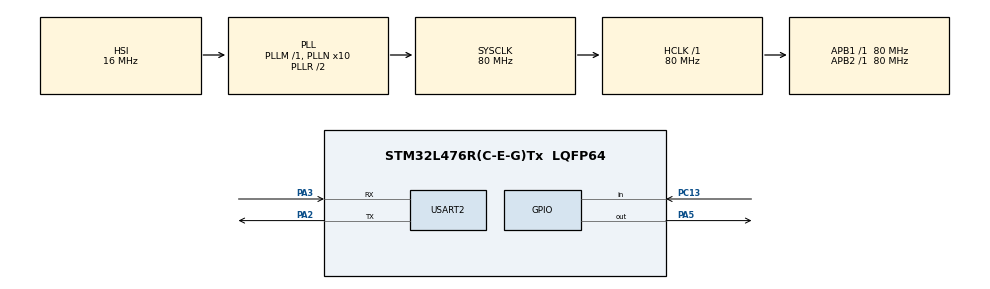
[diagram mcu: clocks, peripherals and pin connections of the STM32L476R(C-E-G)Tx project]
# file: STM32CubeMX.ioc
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Mcu.Family=STM32L4
Mcu.Name=STM32L476R(C-E-G)Tx
Mcu.Package=LQFP64
NVIC.PriorityGroup=NVIC_PRIORITYGROUP_4
NVIC.USART2_IRQn=true\:0\:0\:false\:false\:true\:true\:true\:true
PA2.Mode=Asynchronous
PA2.Signal=USART2_TX
PA3.Mode=Asynchronous
PA3.Signal=USART2_RX
PA5.Signal=GPIO_Output
PC13.Signal=GPIO_Input
ProjectManager.HeapSize=0x200
ProjectManager.StackSize=0x400
ProjectManager.TargetToolchain=MDK-ARM V5
RCC.ADCFreq_Value=64000000
RCC.AHBFreq_Value=80000000
RCC.APB1Freq_Value=80000000
RCC.APB1TimFreq_Value=80000000
RCC.APB2Freq_Value=80000000
RCC.APB2TimFreq_Value=80000000
RCC.CortexFreq_Value=80000000
RCC.HCLKFreq_Value=80000000
RCC.HSE_VALUE=8000000
RCC.HSI_VALUE=16000000
RCC.LSE_VALUE=32768
RCC.MSI_VALUE=4000000
RCC.PLLN=10
RCC.PLLSourceVirtual=RCC_PLLSOURCE_HSI
RCC.SYSCLKFreq_VALUE=80000000
RCC.SYSCLKSource=RCC_SYSCLKSOURCE_PLLCLK
RCC.USBFreq_Value=64000000
RCC.VCOOutputFreq_Value=160000000
USART2.VirtualMode-Asynchronous=VM_ASYNC
board=custom

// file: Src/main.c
/* USER CODE BEGIN Header */
/**
  ******************************************************************************
  * @file           : main.c
  * @brief          : Main program body
  ******************************************************************************
  * @attention
  *
  * Copyright (c) 2025 STMicroelectronics.
  * All rights reserved.
  *
  * This software is licensed under terms that can be found in the LICENSE file
  * in the root directory of this software component.
  * If no LICENSE file comes with this software, it is provided AS-IS.
  *
  ******************************************************************************
  */
/* USER CODE END Header */
#include "main.h"

/* USER CODE BEGIN Includes */
#include <stdio.h>
#include <string.h>
#include "preserved.h"

/* USER CODE END Includes */

UART_HandleTypeDef huart2;

/* USER CODE BEGIN PV */
__attribute__( ( section( ".version" ), used ) ) const uint32_t Version = VERSION ;

/* USER CODE END PV */

void SystemClock_Config(void);
static void MX_GPIO_Init(void);
static void MX_USART2_UART_Init(void);
/* USER CODE BEGIN PFP */
void SwitchEntry( void ) ;
int stdio_init (void) ;
int stdio_uninit (void) ;
/* USER CODE END PFP */

/* USER CODE BEGIN 0 */
__attribute__( ( section( ".handler_code" ) ) ) void HAL_IncTick( void )
{
  Milliseconds++ ;
  if( 1000 <= Milliseconds )
  {
    Milliseconds = 0 ;
    Seconds++ ;
    Tick = 1 ;
    if( 60 <= Seconds )
    {
      Seconds = 0 ;
    }
  }
}

extern char Image$$RW_VECTORS$$Base ;
extern char Image$$ER_RESET$$Length ;
extern char Image$$ER_RESET$$Base ;

void LoadVectors( void )
{
  memcpy( &Image$$RW_VECTORS$$Base,
          &Image$$ER_RESET$$Base,
          ( size_t )&Image$$ER_RESET$$Length ) ;
}

extern char Image$$RW_HANDLERS$$Base ;
extern char Load$$RW_HANDLERS$$Length ;
extern char Load$$RW_HANDLERS$$Base ;

void LoadHandlers( void )
{
  memcpy( &Image$$RW_HANDLERS$$Base,
          &Load$$RW_HANDLERS$$Base,
          ( size_t )&Load$$RW_HANDLERS$$Length ) ;
}

extern uint32_t * const Signature[ ] ;

/* USER CODE END 0 */

int main(void)
{

  /* USER CODE BEGIN 1 */
  uint32_t Diff ;
  uint32_t ButtonOld, ButtonNow ;

  LoadHandlers( ) ;
  LoadVectors( ) ;
  SCB->VTOR = ( uint32_t )&Image$$RW_VECTORS$$Base ;

  /* USER CODE END 1 */

  /* MCU Configuration--------------------------------------------------------*/

  /* Reset of all peripherals, Initializes the Flash interface and the Systick. */
  HAL_Init();

  /* Configure the system clock */
  SystemClock_Config();
  SysTick_Config( SystemCoreClock / 1000 ) ;

  /* USER CODE BEGIN SysInit */
  SystemCoreClockUpdate( ) ;

  /* USER CODE END SysInit */

  /* Initialize all configured peripherals */
  MX_GPIO_Init();
  MX_USART2_UART_Init();
  /* USER CODE BEGIN 2 */
  stdio_init();
  /* USER CODE END 2 */

  /* Infinite loop */
  /* USER CODE BEGIN WHILE */
  ButtonOld = HAL_GPIO_ReadPin( GPIOC, ( 1UL << 13 ) ) ;
  printf( "now running version %d\n", Version ) ;
  printf( "it counts seconds ...\n" ) ;
  Milliseconds = Seconds = 0 ;
  while (1)
  {

    /* USER CODE END WHILE */

    /* USER CODE BEGIN 3 */
  /* USER CODE BEGIN 3 */
    if( ( Milliseconds + ( 1000 * Tick ) ) > LastMilliseconds )
    {
      Diff = ( Milliseconds + ( 1000 * Tick ) ) - LastMilliseconds ;
      if( Diff > LongestMilliseconds )
      {
        LongestMilliseconds = Diff ;
        printf( "new longest ms check: %dms (%d,%d,%d)\n", LongestMilliseconds, Tick, Milliseconds, LastMilliseconds ) ;
      }
      LastMilliseconds = Milliseconds ;
    }

    if( Tick )
    {
      HAL_GPIO_TogglePin( GPIOA, ( 1UL << 5 ) ) ;
      Tick = 0 ;
      printf( "%02d\n", Seconds ) ;
    }

    ButtonNow = HAL_GPIO_ReadPin( GPIOC, ( 1UL << 13 ) ) ;
    if( ( ButtonOld != ButtonNow )  )
    {
      if( !( ButtonNow ) )
      {
        //while( !( HAL_GPIO_ReadPin( GPIOC, ( 1UL << 13 ) ) ) )
        {  /* just to add a dummy delay */
        }
        /* all what does not use preserved resources needs to be uninitialized
           here and then initialized again when the new version starts */
        stdio_uninit( ) ;
        HAL_UART_DeInit( &huart2 ) ;
        Switched = 1 ;
        SwitchEntry( ) ;
      }
      ButtonOld = ButtonNow ;
    }
  }
  /* USER CODE END 3 */
}

void SystemClock_Config(void)
{
  RCC_OscInitTypeDef RCC_OscInitStruct = {0};
  RCC_ClkInitTypeDef RCC_ClkInitStruct = {0};

  /** Configure the main internal regulator output voltage
  */
  if (HAL_PWREx_ControlVoltageScaling(PWR_REGULATOR_VOLTAGE_SCALE1) != HAL_OK)
  {
    Error_Handler();
  }

  /** Initializes the RCC Oscillators according to the specified parameters
  * in the RCC_OscInitTypeDef structure.
  */
  RCC_OscInitStruct.OscillatorType = RCC_OSCILLATORTYPE_HSI;
  RCC_OscInitStruct.HSIState = RCC_HSI_ON;
  RCC_OscInitStruct.HSICalibrationValue = RCC_HSICALIBRATION_DEFAULT;
  RCC_OscInitStruct.PLL.PLLState = RCC_PLL_ON;
  RCC_OscInitStruct.PLL.PLLSource = RCC_PLLSOURCE_HSI;
  RCC_OscInitStruct.PLL.PLLM = 1;
  RCC_OscInitStruct.PLL.PLLN = 10;
  RCC_OscInitStruct.PLL.PLLP = RCC_PLLP_DIV7;
  RCC_OscInitStruct.PLL.PLLQ = RCC_PLLQ_DIV2;
  RCC_OscInitStruct.PLL.PLLR = RCC_PLLR_DIV2;
  if (HAL_RCC_OscConfig(&RCC_OscInitStruct) != HAL_OK)
  {
    Error_Handler();
  }

  /** Initializes the CPU, AHB and APB buses clocks
  */
  RCC_ClkInitStruct.ClockType = RCC_CLOCKTYPE_HCLK|RCC_CLOCKTYPE_SYSCLK
                              |RCC_CLOCKTYPE_PCLK1|RCC_CLOCKTYPE_PCLK2;
  RCC_ClkInitStruct.SYSCLKSource = RCC_SYSCLKSOURCE_PLLCLK;
  RCC_ClkInitStruct.AHBCLKDivider = RCC_SYSCLK_DIV1;
  RCC_ClkInitStruct.APB1CLKDivider = RCC_HCLK_DIV1;
  RCC_ClkInitStruct.APB2CLKDivider = RCC_HCLK_DIV1;

  if (HAL_RCC_ClockConfig(&RCC_ClkInitStruct, FLASH_LATENCY_4) != HAL_OK)
  {
    Error_Handler();
  }
}

static void MX_USART2_UART_Init(void)
{

  huart2.Instance = USART2;
  huart2.Init.BaudRate = 115200;
  huart2.Init.WordLength = UART_WORDLENGTH_8B;
  huart2.Init.StopBits = UART_STOPBITS_1;
  huart2.Init.Parity = UART_PARITY_NONE;
  huart2.Init.Mode = UART_MODE_TX_RX;
  huart2.Init.HwFlowCtl = UART_HWCONTROL_NONE;
  huart2.Init.OverSampling = UART_OVERSAMPLING_16;
  huart2.Init.OneBitSampling = UART_ONE_BIT_SAMPLE_DISABLE;
  huart2.AdvancedInit.AdvFeatureInit = UART_ADVFEATURE_NO_INIT;
  if (HAL_UART_Init(&huart2) != HAL_OK)
  {
    Error_Handler();
  }

}

static void MX_GPIO_Init(void)
{
  GPIO_InitTypeDef GPIO_InitStruct = {0};

  /* GPIO Ports Clock Enable */
  __HAL_RCC_GPIOC_CLK_ENABLE();
  __HAL_RCC_GPIOA_CLK_ENABLE();

  /*Configure GPIO pin Output Level */
  HAL_GPIO_WritePin(GPIOA, GPIO_PIN_5, GPIO_PIN_RESET);

  /*Configure GPIO pin : PC13 */
  GPIO_InitStruct.Pin = GPIO_PIN_13;
  GPIO_InitStruct.Mode = GPIO_MODE_INPUT;
  GPIO_InitStruct.Pull = GPIO_NOPULL;
  HAL_GPIO_Init(GPIOC, &GPIO_InitStruct);

  /*Configure GPIO pin : PA5 */
  GPIO_InitStruct.Pin = GPIO_PIN_5;
  GPIO_InitStruct.Mode = GPIO_MODE_OUTPUT_PP;
  GPIO_InitStruct.Pull = GPIO_NOPULL;
  GPIO_InitStruct.Speed = GPIO_SPEED_FREQ_LOW;
  HAL_GPIO_Init(GPIOA, &GPIO_InitStruct);

}

void Error_Handler(void)
{
  __disable_irq();
  while (1)
  {
  }
}
